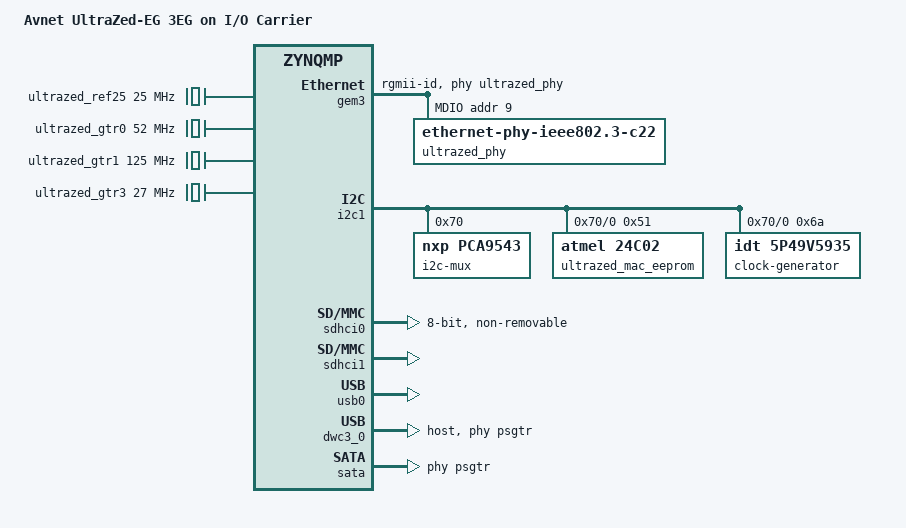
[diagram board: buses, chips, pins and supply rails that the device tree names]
// Production UltraZed-EG 3EG SOM and AES-ZU-IOCC-G carrier wiring.
// Reference: Avnet/meta-avnet 8a0946581dbc37475459414b7a85e75916a0e226,
// recipes-bsp/device-tree/files/uz3eg-iocc/system-bsp.dtsi.
/ {
	compatible = "avnet,ultrazed-3eg-iocc", "xlnx,zynqmp";
	model = "Avnet UltraZed-EG 3EG on I/O Carrier";

	chosen {
		stdout-path = "serial0:115200n8";
		nvmem = <&ultrazed_mac_eeprom>;
	};

	aliases {
		serial0 = &uart0;
		serial1 = &uart1;
		ethernet0 = &gem3;
	};

	ultrazed_ref25: ref25m {
		compatible = "fixed-clock";
		#clock-cells = <0>;
		clock-frequency = <25000000>;
	};
	ultrazed_gtr0: gtr-ref0 {
		compatible = "fixed-clock";
		#clock-cells = <0>;
		clock-frequency = <52000000>;
	};
	ultrazed_gtr1: gtr-ref1 {
		compatible = "fixed-clock";
		#clock-cells = <0>;
		clock-frequency = <125000000>;
	};
	ultrazed_gtr3: gtr-ref3 {
		compatible = "fixed-clock";
		#clock-cells = <0>;
		clock-frequency = <27000000>;
	};
};

&gem3 {
	status = "okay";
	phy-mode = "rgmii-id";
	phy-handle = <&ultrazed_phy>;
	nvmem-cells = <&ultrazed_mac_address>;
	nvmem-cell-names = "mac-address";

	mdio {
		#address-cells = <1>;
		#size-cells = <0>;
		ultrazed_phy: ethernet-phy@9 {
			compatible = "ethernet-phy-ieee802.3-c22";
			reg = <9>;
			ti,rx-internal-delay = <5>;
			ti,tx-internal-delay = <5>;
			ti,fifo-depth = <1>;
		};
	};
};

&i2c1 {
	status = "okay";
	i2c-mux@70 {
		compatible = "nxp,pca9543";
		reg = <0x70>;
		#address-cells = <1>;
		#size-cells = <0>;
		i2c@0 {
			reg = <0>;
			#address-cells = <1>;
			#size-cells = <0>;
			ultrazed_mac_eeprom: eeprom@51 {
				compatible = "atmel,24c02";
				reg = <0x51>;
				nvmem-layout {
					compatible = "fixed-layout";
					#address-cells = <1>;
					#size-cells = <1>;
					ultrazed_mac_address: mac-address@fa {
						reg = <0xfa 6>;
					};
				};
			};
			clock-generator@6a {
				compatible = "idt,5p49v5935";
				reg = <0x6a>;
				#clock-cells = <1>;
				clocks = <&ultrazed_ref25>;
				clock-names = "xin";
				OUT1 {
					idt,drive-mode = <5>; /* VC5_CMOSD */
					idt,voltage-microvolts = <1800000>;
					idt,slew-percent = <80>;
				};
				OUT4 {
					idt,drive-mode = <3>; /* VC5_LVDS */
				};
			};
		};
	};
};

&sdhci0 {
	status = "okay";
	bus-width = <8>;
	non-removable;
	max-frequency = <50000000>;
};

&sdhci1 {
	status = "okay";
	max-frequency = <50000000>;
	no-1-8-v;
};

&psgtr {
	clocks = <&ultrazed_gtr0>, <&ultrazed_gtr1>, <&ultrazed_gtr3>;
	clock-names = "ref0", "ref1", "ref3";
};

&usb0 {
	status = "okay";
};

&dwc3_0 {
	status = "okay";
	dr_mode = "host";
	maximum-speed = "super-speed";
	snps,usb3_lpm_capable;
	snps,enable_auto_retry;
	phy-names = "usb3-phy";
	phys = <&psgtr 0 4 0 0>; /* PHY_TYPE_USB3, lane 0, ref0 */
};

&sata {
	status = "okay";
	phy-names = "sata-phy";
	phys = <&psgtr 1 1 1 1>; /* PHY_TYPE_SATA, lane 1, ref1 */
	/* Required by ahci_ceva; not supplied by the generated SDT domain. */
	ceva,p0-burst-params = /bits/ 8 <0x13 0x08 0x4a 0x06>;
	ceva,p0-cominit-params = /bits/ 8 <0x18 0x40 0x18 0x28>;
	ceva,p0-comwake-params = /bits/ 8 <0x06 0x14 0x08 0x0e>;
	ceva,p0-retry-params = /bits/ 16 <0x96a4 0x3ffc>;
	ceva,p1-burst-params = /bits/ 8 <0x13 0x08 0x4a 0x06>;
	ceva,p1-cominit-params = /bits/ 8 <0x18 0x40 0x18 0x28>;
	ceva,p1-comwake-params = /bits/ 8 <0x06 0x14 0x08 0x0e>;
	ceva,p1-retry-params = /bits/ 16 <0x96a4 0x3ffc>;
};

&axis_spectral_filter_0 {
	compatible = "eldden28,cora-dsp-1.0";
	dmas = <&axi_dma_dsp 0>, <&axi_dma_dsp 1>;
	dma-names = "tx", "rx";
	status = "okay";
};
